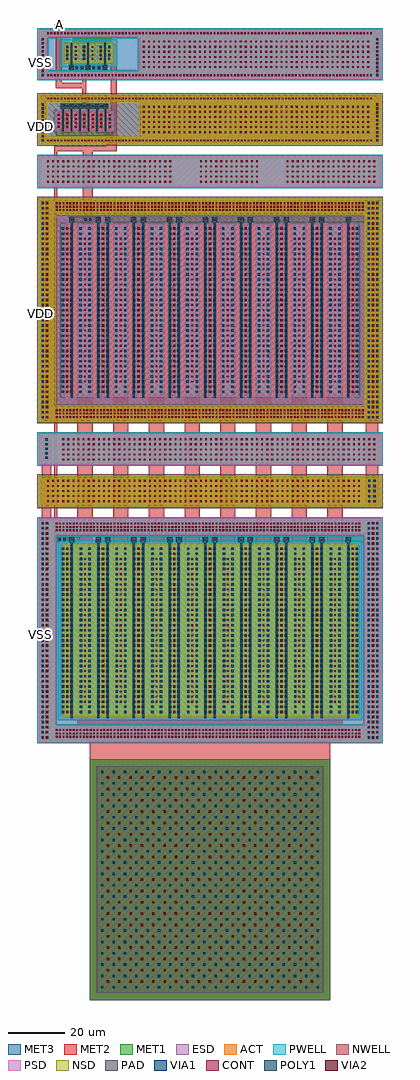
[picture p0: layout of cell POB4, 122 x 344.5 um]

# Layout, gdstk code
from math import pi, radians
import gdstk
lib = gdstk.Library(unit=1e-6, precision=1e-09)
def R(c, l, rs):  # rectangles x0, y0, x1, y1
    for r in rs: c.add(gdstk.rectangle(r[:2], r[2:], *l))
def A(c, l, x, y, w, h, nx, ny, dx, dy):  # array of equal rectangles
    R(c, l, [(x+i*dx, y+j*dy, x+i*dx+w, y+j*dy+h) for i in range(nx) for j in range(ny)])
NWELL = (2, 0)
PWELL = (3, 0)
ACT = (11, 0)
POLY1 = (12, 0)
NSD = (14, 0)
PSD = (15, 0)
ESD = (26, 0)
CONT = (31, 0)
MET1 = (32, 0)
VIA1 = (33, 0)
MET2 = (34, 0)
VIA2 = (35, 0)
MET3 = (36, 0)
PAD = (37, 0)

via2_array_cdns_70467682 = lib.new_cell('via2_array_CDNS_704676826052')
R(via2_array_cdns_70467682, MET2, [(0,0,2,2)])
R(via2_array_cdns_70467682, VIA2, [(0.6,0.6,1.4,1.4)])
R(via2_array_cdns_70467682, MET3, [(0,0,2,2)])

via1_array_cdns_70467682 = lib.new_cell('via1_array_CDNS_704676826051')
R(via1_array_cdns_70467682, MET1, [(0,0,2,2)])
R(via1_array_cdns_70467682, VIA1, [(0.6,0.6,1.4,1.4)])
R(via1_array_cdns_70467682, MET2, [(0,0,2,2)])

pad80_cdns_704676826050 = lib.new_cell('pad80_CDNS_704676826050')
R(pad80_cdns_704676826050, MET1, [(0,0,85,2.5), (0,2.5,2.5,82.5), (2.5,2.5,82.5,82.5), (82.5,2.5,85,82.5), (0,82.5,85,85)])
R(pad80_cdns_704676826050, MET2, [(0,0,85,2.5), (0,2.5,2.5,82.5), (2.5,2.5,82.5,82.5), (82.5,2.5,85,82.5), (0,82.5,85,85)])
R(pad80_cdns_704676826050, MET3, [(0,0,85,2.5), (0,2.5,2.5,82.5), (2.5,2.5,82.5,82.5), (82.5,2.5,85,82.5), (0,82.5,85,85)])
R(pad80_cdns_704676826050, PAD, [(2.5,2.5,82.5,82.5), (2.5,2.5,82.5,82.5)])
r = gdstk.Reference(via2_array_cdns_70467682, (5.5,5.5)); r.repetition = gdstk.Repetition(19, 19, v1=(4,0), v2=(0,4)); pad80_cdns_704676826050.add(r)
r = gdstk.Reference(via1_array_cdns_70467682, (3.5,3.5)); r.repetition = gdstk.Repetition(20, 20, v1=(4,0), v2=(0,4)); pad80_cdns_704676826050.add(r)

pad_80 = lib.new_cell('PAD_80')
R(pad_80, MET1, [(-40.9,-40.9,40.4,40.8)])
R(pad_80, MET2, [(-40.9,-40.9,40.4,40.8), (-42.5,42.5,42.5,49)])
R(pad_80, MET3, [(-40.9,-40.9,40.4,40.8)])
pad_80.add(gdstk.Reference(pad80_cdns_704676826050, (-42.5,-42.5)))

via2 = lib.new_cell('VIA2')
R(via2, VIA2, [(-0.4,-0.4,0.4,0.4)])

via1 = lib.new_cell('VIA1')
R(via1, VIA1, [(-0.4,-0.4,0.4,0.4)])

cont = lib.new_cell('CONT')
R(cont, CONT, [(-0.3,-0.3,0.3,0.3)])

nleaf = lib.new_cell('NLEAF')
R(nleaf, PWELL, [(-1.8,-1.8,17,61.8)])
R(nleaf, ACT, [(0,0,15.2,60)])
R(nleaf, POLY1, [(2.6,-1,3.3,61), (11.9,-1,12.6,61), (2.05,61,3.85,62.8), (11.35,61,13.15,62.8)])
R(nleaf, NSD, [(-0.5,-0.5,15.7,60.5)])
R(nleaf, MET1, [(-1.2,0,3.8,60), (4.6,0,10.6,60), (11.4,0,16.4,60), (2.05,61,3.85,62.8), (11.35,61,13.15,62.8)])
R(nleaf, MET2, [(-1.2,0,3.8,60), (4.9,0,10.3,60), (11.4,0,16.4,60)])
R(nleaf, MET3, [(-1.3,0,3.9,60), (11.3,0,16.5,60)])
r = gdstk.Reference(via2, (1.3,1.2)); r.repetition = gdstk.Repetition(1, 33, v1=(0,0), v2=(0,1.8)); nleaf.add(r)
r = gdstk.Reference(via2, (13.9,1.2)); r.repetition = gdstk.Repetition(1, 33, v1=(0,0), v2=(0,1.8)); nleaf.add(r)
r = gdstk.Reference(via1, (-0.2,1.2)); r.repetition = gdstk.Repetition(2, 33, v1=(3,0), v2=(0,1.8)); nleaf.add(r)
r = gdstk.Reference(via1, (12.4,1.2)); r.repetition = gdstk.Repetition(2, 33, v1=(3,0), v2=(0,1.8)); nleaf.add(r)
r = gdstk.Reference(via1, (6.2,1.2)); r.repetition = gdstk.Repetition(2, 33, v1=(3,0), v2=(0,1.8)); nleaf.add(r)
r = gdstk.Reference(cont, (7.6,4.8)); r.repetition = gdstk.Repetition(1, 29, v1=(0,0), v2=(0,1.8)); nleaf.add(r)
r = gdstk.Reference(cont, (1.3,4.8)); r.repetition = gdstk.Repetition(1, 29, v1=(0,0), v2=(0,1.8)); nleaf.add(r)
r = gdstk.Reference(cont, (13.9,4.8)); r.repetition = gdstk.Repetition(1, 29, v1=(0,0), v2=(0,1.8)); nleaf.add(r)
nleaf.add(gdstk.Reference(cont, (2.95,61.9)))
nleaf.add(gdstk.Reference(cont, (12.25,61.9)))

ndrv = lib.new_cell('NDRV')
R(ndrv, PWELL, [(-0.9,-0.9,120.9,5.9), (-0.9,5.9,5.9,72.1), (114.1,5.9,120.9,72.1), (-0.9,72.1,120.9,78.9)])
R(ndrv, ACT, [(0,0,120,5), (0,5,5,73), (115,5,120,73), (0,73,120,78)])
R(ndrv, PSD, [(-0.5,-0.5,120.5,5.5), (-0.5,5.5,5.5,72.5), (114.5,5.5,120.5,72.5), (-0.5,72.5,120.5,78.5)])
R(ndrv, ESD, [(5.6,5.6,114.4,72.4), (5.6,5.6,114.4,72.4)])
R(ndrv, MET1, [(0,0,120,5), (0,5,5,73), (115,5,120,73), (0,73,120,78)])
R(ndrv, MET2, [(0,0,4,78), (115,0,120,78)])
R(ndrv, MET3, [(0,0,5,78), (115,0,120,78)])
r = gdstk.Reference(via2, (2.5,1.2)); r.repetition = gdstk.Repetition(1, 43, v1=(0,0), v2=(0,1.8)); ndrv.add(r)
r = gdstk.Reference(via2, (117.5,1.2)); r.repetition = gdstk.Repetition(1, 43, v1=(0,0), v2=(0,1.8)); ndrv.add(r)
r = gdstk.Reference(via1, (1,1.2)); r.repetition = gdstk.Repetition(1, 43, v1=(0,0), v2=(0,1.8)); ndrv.add(r)
r = gdstk.Reference(via1, (116,1.2)); r.repetition = gdstk.Repetition(2, 43, v1=(3,0), v2=(0,1.8)); ndrv.add(r)
r = gdstk.Reference(nleaf, (8.3,9)); r.repetition = gdstk.Repetition(8, 1, v1=(12.6,0), v2=(0,0)); ndrv.add(r)
r = gdstk.Reference(cont, (5.9,1.4)); r.repetition = gdstk.Repetition(90, 3, v1=(1.2,0), v2=(0,1.2)); ndrv.add(r)
r = gdstk.Reference(cont, (2.5,1.2)); r.repetition = gdstk.Repetition(1, 43, v1=(0,0), v2=(0,1.8)); ndrv.add(r)
r = gdstk.Reference(cont, (5.9,74.3)); r.repetition = gdstk.Repetition(90, 3, v1=(1.2,0), v2=(0,1.2)); ndrv.add(r)
r = gdstk.Reference(cont, (117.5,1.2)); r.repetition = gdstk.Repetition(1, 43, v1=(0,0), v2=(0,1.8)); ndrv.add(r)

guard1 = lib.new_cell('GUARD1')
R(guard1, NWELL, [(-25.1,0.9,59.25,15.7)])
R(guard1, PWELL, [(-25.1,23.9,59.25,38.7)])
R(guard1, ACT, [(-24.2,1.8,58.35,14.8), (-24.2,24.8,58.35,37.8)])
R(guard1, NSD, [(-24.7,1.3,58.85,15.3)])
R(guard1, PSD, [(-24.7,24.3,58.85,38.3)])
R(guard1, MET1, [(-24.2,1.8,58.35,14.8), (-24.2,24.8,58.35,37.8)])
r = gdstk.Reference(cont, (-23,26.8)); r.repetition = gdstk.Repetition(45, 6, v1=(1.8,0), v2=(0,1.8)); guard1.add(r)
r = gdstk.Reference(cont, (-23,3.8)); r.repetition = gdstk.Repetition(45, 6, v1=(1.8,0), v2=(0,1.8)); guard1.add(r)

double_guard = lib.new_cell('DOUBLE_GUARD')
R(double_guard, NWELL, [(-1,-1,120.95,11)])
R(double_guard, PWELL, [(-0.9,14.1,120.9,25.9)])
R(double_guard, ACT, [(0,0,120,10), (0,15,120,25)])
R(double_guard, NSD, [(-0.5,-0.5,120.5,10.5)])
R(double_guard, PSD, [(-0.5,14.5,120.5,25.5)])
R(double_guard, MET1, [(0,0,120,10), (0,15,120,25)])
r = gdstk.Reference(cont, (2.8,1.55)); r.repetition = gdstk.Repetition(62, 5, v1=(1.8,0), v2=(0,1.8)); double_guard.add(r)
r = gdstk.Reference(cont, (8.2,16.25)); r.repetition = gdstk.Repetition(62, 5, v1=(1.8,0), v2=(0,1.8)); double_guard.add(r)

guard = lib.new_cell('GUARD')
R(guard, NWELL, [(-1,-1,120.95,17.6)])
R(guard, PWELL, [(-0.9,22.1,120.9,25.7), (-0.9,25.7,2.9,36.9), (117.1,25.7,120.9,36.9), (-0.9,36.9,120.9,40.5)])
R(guard, ACT, [(0,0,120,1.8), (0,1.8,2,14.8), (118,1.8,120,14.8), (0,14.8,120,16.6), (0,23,120,24.8), (0,24.8,2,37.8), (118,24.8,120,37.8), (0,37.8,120,39.6)])
R(guard, NSD, [(-0.5,-0.5,120.5,2.3), (-0.5,2.3,2.5,14.3), (117.5,2.3,120.5,14.3), (-0.5,14.3,120.5,17.1)])
R(guard, PSD, [(-0.5,22.5,120.5,25.3), (-0.5,25.3,2.5,37.3), (117.5,25.3,120.5,37.3), (-0.5,37.3,120.5,40.1)])
R(guard, MET1, [(0,0,120,1.8), (0,1.8,2,14.8), (118,1.8,120,14.8), (0,14.8,120,16.6), (0,23,120,24.8), (0,24.8,2,37.8), (118,24.8,120,37.8), (0,37.8,120,39.6)])
R(guard, MET2, [(0,0,2,16.6), (118,0,120,16.6), (0,23,2,39.6), (118,23,120,39.6)])
R(guard, MET3, [(0,0,2,16.6), (118,0,120,16.6), (0,23,2,39.6), (118,23,120,39.6)])
r = gdstk.Reference(via2, (1,25.4)); r.repetition = gdstk.Repetition(1, 5, v1=(0,0), v2=(0,2.8)); guard.add(r)
r = gdstk.Reference(via2, (119,25.4)); r.repetition = gdstk.Repetition(1, 5, v1=(0,0), v2=(0,2.8)); guard.add(r)
r = gdstk.Reference(via2, (1,2.4)); r.repetition = gdstk.Repetition(1, 5, v1=(0,0), v2=(0,2.8)); guard.add(r)
r = gdstk.Reference(via2, (119,2.4)); r.repetition = gdstk.Repetition(1, 5, v1=(0,0), v2=(0,2.8)); guard.add(r)
r = gdstk.Reference(via1, (119,24)); r.repetition = gdstk.Repetition(1, 5, v1=(0,0), v2=(0,2.8)); guard.add(r)
r = gdstk.Reference(via1, (1,24)); r.repetition = gdstk.Repetition(1, 5, v1=(0,0), v2=(0,2.8)); guard.add(r)
r = gdstk.Reference(via1, (119,1)); r.repetition = gdstk.Repetition(1, 5, v1=(0,0), v2=(0,2.8)); guard.add(r)
r = gdstk.Reference(via1, (1,1)); r.repetition = gdstk.Repetition(1, 5, v1=(0,0), v2=(0,2.8)); guard.add(r)
r = gdstk.Reference(cont, (2.8,38.7)); r.repetition = gdstk.Repetition(96, 1, v1=(1.2,0), v2=(0,0)); guard.add(r)
r = gdstk.Reference(cont, (2.8,23.9)); r.repetition = gdstk.Repetition(96, 1, v1=(1.2,0), v2=(0,0)); guard.add(r)
r = gdstk.Reference(cont, (2.8,0.9)); r.repetition = gdstk.Repetition(96, 1, v1=(1.2,0), v2=(0,0)); guard.add(r)
r = gdstk.Reference(cont, (1,25.4)); r.repetition = gdstk.Repetition(1, 5, v1=(0,0), v2=(0,2.8)); guard.add(r)
r = gdstk.Reference(cont, (119,2.4)); r.repetition = gdstk.Repetition(1, 5, v1=(0,0), v2=(0,2.8)); guard.add(r)
r = gdstk.Reference(cont, (1,2.4)); r.repetition = gdstk.Repetition(1, 5, v1=(0,0), v2=(0,2.8)); guard.add(r)
r = gdstk.Reference(cont, (2.8,15.7)); r.repetition = gdstk.Repetition(96, 1, v1=(1.2,0), v2=(0,0)); guard.add(r)
r = gdstk.Reference(cont, (119,25.4)); r.repetition = gdstk.Repetition(1, 5, v1=(0,0), v2=(0,2.8)); guard.add(r)

poly1cont_cdns_704676826 = lib.new_cell('poly1cont_CDNS_704676826053')
R(poly1cont_cdns_704676826, POLY1, [(0.1,0.1,1.7,1.7)])
R(poly1cont_cdns_704676826, CONT, [(0.6,0.6,1.2,1.2), (0.6,0.6,1.2,1.2)])
R(poly1cont_cdns_704676826, MET1, [(0,0,1.8,1.8)])

inv2 = lib.new_cell('INV2')
R(inv2, NWELL, [(0.35,-1.8,19.45,8)])
R(inv2, PWELL, [(-0.9,-0.9,0.35,7.1), (19.45,-0.9,20.7,7.1), (1.2,22.2,21.4,32)])
A(inv2, ACT, 3, 24, 4.8, 6.2, 3, 1, 5.9, 0)
R(inv2, ACT, [(0,0,19.8,6.2)])
A(inv2, POLY1, 2.15, -0.5, 0.5, 7.9, 6, 1, 3, 0)
A(inv2, POLY1, 5.15, 22.8, 0.5, 7.9, 3, 1, 5.9, 0)
A(inv2, NSD, 2.5, 23.5, 5.8, 7.2, 3, 1, 5.9, 0)
R(inv2, PSD, [(-0.5,-0.5,20.3,6.7)])
R(inv2, CONT, [(0.6,2.1,1.2,2.7), (0.6,2.1,1.2,2.7), (3.6,2.1,4.2,2.7), (3.6,2.1,4.2,2.7), (6.6,2.1,7.2,2.7), (6.6,2.1,7.2,2.7), (9.6,2.1,10.2,2.7), (9.6,2.1,10.2,2.7), (12.6,2.1,13.2,2.7), (12.6,2.1,13.2,2.7), (15.6,2.1,16.2,2.7), (15.6,2.1,16.2,2.7), (18.6,2.1,19.2,2.7), (18.6,2.1,19.2,2.7), (0.6,4.9,1.2,5.5), (0.6,4.9,1.2,5.5), (3.6,4.9,4.2,5.5), (3.6,4.9,4.2,5.5), (6.6,4.9,7.2,5.5), (6.6,4.9,7.2,5.5), (9.6,4.9,10.2,5.5), (9.6,4.9,10.2,5.5), (12.6,4.9,13.2,5.5), (12.6,4.9,13.2,5.5), (15.6,4.9,16.2,5.5), (15.6,4.9,16.2,5.5), (18.6,4.9,19.2,5.5), (18.6,4.9,19.2,5.5), (3.6,24.7,4.2,25.3), (3.6,24.7,4.2,25.3), (6.6,24.7,7.2,25.3), (6.6,24.7,7.2,25.3), (9.5,24.7,10.1,25.3), (9.5,24.7,10.1,25.3), (12.5,24.7,13.1,25.3), (12.5,24.7,13.1,25.3), (15.4,24.7,16,25.3), (15.4,24.7,16,25.3), (18.4,24.7,19,25.3), (18.4,24.7,19,25.3), (3.6,27.5,4.2,28.1), (3.6,27.5,4.2,28.1), (6.6,27.5,7.2,28.1), (6.6,27.5,7.2,28.1), (9.5,27.5,10.1,28.1), (9.5,27.5,10.1,28.1), (12.5,27.5,13.1,28.1), (12.5,27.5,13.1,28.1), (15.4,27.5,16,28.1), (15.4,27.5,16,28.1), (18.4,27.5,19,28.1), (18.4,27.5,19,28.1)])
A(inv2, MET1, 2.8, -0.1, 2.2, 6.4, 3, 1, 6, 0)
A(inv2, MET1, 2.9, 23.9, 2.1, 6.4, 3, 1, 5.9, 0)
A(inv2, MET1, 5.8, 23.9, 2.1, 7.2, 3, 1, 5.9, 0)
R(inv2, MET1, [(-0.1,-2.1,19.9,-0.9), (-0.1,-0.9,2,6.3), (5.8,-0.9,8,-0.1), (11.8,-0.9,14,-0.1), (17.8,-0.9,19.9,6.3), (5.8,-0.1,7.9,6.3), (11.8,-0.1,13.9,6.3), (1.5,7.3,18.3,9.3), (4.5,20.9,18.1,23.1), (5.8,31.1,19.7,32.3)])
A(inv2, MET2, 2.9, -0.1, 2, 6.4, 3, 1, 6, 0)
A(inv2, MET2, 2.9, 23.9, 2, 6.4, 3, 1, 5.9, 0)
R(inv2, MET2, [(17.9,-0.1,21.3,6.3), (19.3,6.3,21.3,23.9), (1.5,7.3,18.3,9.3), (9.2,9.3,10.6,20.9), (4.5,20.9,18.1,22.9), (17.7,23.9,21.3,30.3)])
A(inv2, MET3, 2.9, -0.1, 2, 6.4, 3, 1, 6, 0)
A(inv2, MET3, 2.9, 23.9, 2, 6.4, 3, 1, 5.9, 0)
inv2.add(gdstk.Reference(via2, (15.7,27.8)))
inv2.add(gdstk.Reference(via2, (9.8,27.8)))
inv2.add(gdstk.Reference(via2, (15.9,5.2), rotation=pi))
inv2.add(gdstk.Reference(via2, (15.9,2.4), rotation=pi))
inv2.add(gdstk.Reference(via2, (9.9,5.2), rotation=pi))
inv2.add(gdstk.Reference(via2, (9.9,2.4), rotation=pi))
inv2.add(gdstk.Reference(via2, (9.8,25)))
inv2.add(gdstk.Reference(via2, (15.7,25)))
inv2.add(gdstk.Reference(via2, (3.9,5.2), rotation=pi))
inv2.add(gdstk.Reference(via2, (3.9,27.8)))
inv2.add(gdstk.Reference(via2, (3.9,2.4), rotation=pi))
inv2.add(gdstk.Reference(via2, (3.9,25)))
inv2.add(gdstk.Reference(via1, (18.7,29.2)))
inv2.add(gdstk.Reference(via1, (18.7,26.4)))
inv2.add(gdstk.Reference(via1, (15.7,29.2)))
inv2.add(gdstk.Reference(via1, (15.7,26.4)))
inv2.add(gdstk.Reference(via1, (9.8,29.2)))
inv2.add(gdstk.Reference(via1, (9.8,26.4)))
inv2.add(gdstk.Reference(via1, (15.9,1), rotation=pi))
inv2.add(gdstk.Reference(via1, (15.9,3.8), rotation=pi))
inv2.add(gdstk.Reference(via1, (18.9,1), rotation=pi))
inv2.add(gdstk.Reference(via1, (18.9,3.8), rotation=pi))
inv2.add(gdstk.Reference(via1, (9.9,1), rotation=pi))
inv2.add(gdstk.Reference(via1, (9.9,3.8), rotation=pi))
inv2.add(gdstk.Reference(via1, (16,8.3)))
inv2.add(gdstk.Reference(via1, (9.9,8.3)))
inv2.add(gdstk.Reference(via1, (15.1,21.9)))
inv2.add(gdstk.Reference(via1, (13.3,21.9)))
inv2.add(gdstk.Reference(via1, (9.1,21.9)))
inv2.add(gdstk.Reference(via1, (3.9,1), rotation=pi))
inv2.add(gdstk.Reference(via1, (7.3,21.9)))
inv2.add(gdstk.Reference(via1, (3.9,8.3)))
inv2.add(gdstk.Reference(via1, (3.9,3.8), rotation=pi))
inv2.add(gdstk.Reference(via1, (12.9,8.3)))
inv2.add(gdstk.Reference(via1, (6.9,8.3)))
inv2.add(gdstk.Reference(via1, (3.9,29.2)))
inv2.add(gdstk.Reference(via1, (3.9,26.4)))
inv2.add(gdstk.Reference(poly1cont_cdns_704676826, (18.1,22.9), rotation=pi))
inv2.add(gdstk.Reference(poly1cont_cdns_704676826, (12.2,22.9), rotation=pi))
inv2.add(gdstk.Reference(poly1cont_cdns_704676826, (13.5,7.3)))
inv2.add(gdstk.Reference(poly1cont_cdns_704676826, (16.5,7.3)))
inv2.add(gdstk.Reference(poly1cont_cdns_704676826, (7.5,7.3)))
inv2.add(gdstk.Reference(poly1cont_cdns_704676826, (10.5,7.3)))
inv2.add(gdstk.Reference(poly1cont_cdns_704676826, (1.5,7.3)))
inv2.add(gdstk.Reference(poly1cont_cdns_704676826, (6.3,22.9), rotation=pi))
inv2.add(gdstk.Reference(poly1cont_cdns_704676826, (4.5,7.3)))
inv2.add(gdstk.Reference(cont, (12.8,29.2)))
inv2.add(gdstk.Reference(cont, (12.8,26.4)))
inv2.add(gdstk.Reference(cont, (6.9,3.8), rotation=pi))
inv2.add(gdstk.Reference(cont, (6.9,1), rotation=pi))
inv2.add(gdstk.Reference(cont, (12.9,1), rotation=pi))
inv2.add(gdstk.Reference(cont, (12.9,3.8), rotation=pi))
inv2.add(gdstk.Reference(cont, (6.9,29.2)))
inv2.add(gdstk.Reference(cont, (0.9,1), rotation=pi))
inv2.add(gdstk.Reference(cont, (6.9,26.4)))
inv2.add(gdstk.Reference(cont, (0.9,3.8), rotation=pi))

pleaf = lib.new_cell('PLEAF')
R(pleaf, NWELL, [(0.8,-1.8,5.1,61.8), (10.1,-1.8,14.4,61.8)])
R(pleaf, PWELL, [(-0.9,-0.9,0.8,60.9), (5.1,-0.9,10.1,60.9), (14.4,-0.9,16.1,60.9)])
R(pleaf, ACT, [(0,0,15.2,60)])
R(pleaf, POLY1, [(2.6,-1,3.3,61), (11.9,-1,12.6,61), (2.05,61,3.85,62.8), (11.35,61,13.15,62.8)])
R(pleaf, PSD, [(-0.5,-0.5,15.7,60.5)])
R(pleaf, MET1, [(-1.2,0,3.8,60), (4.6,0,10.6,60), (11.4,0,16.4,60), (2.05,61,3.85,62.8), (11.35,61,13.15,62.8)])
R(pleaf, MET2, [(-1.3,0,3.9,60), (4.9,0,10.3,60), (11.3,0,16.5,60)])
R(pleaf, MET3, [(-1.3,0,3.9,60), (11.3,0,16.5,60)])
r = gdstk.Reference(via2, (1.3,1.2)); r.repetition = gdstk.Repetition(1, 33, v1=(0,0), v2=(0,1.8)); pleaf.add(r)
r = gdstk.Reference(via2, (13.9,1.2)); r.repetition = gdstk.Repetition(1, 33, v1=(0,0), v2=(0,1.8)); pleaf.add(r)
r = gdstk.Reference(via1, (-0.2,1.2)); r.repetition = gdstk.Repetition(2, 33, v1=(3,0), v2=(0,1.8)); pleaf.add(r)
r = gdstk.Reference(via1, (12.4,1.2)); r.repetition = gdstk.Repetition(2, 33, v1=(3,0), v2=(0,1.8)); pleaf.add(r)
r = gdstk.Reference(via1, (6,1.2)); r.repetition = gdstk.Repetition(2, 33, v1=(3.2,0), v2=(0,1.8)); pleaf.add(r)
r = gdstk.Reference(cont, (7.6,4.8)); r.repetition = gdstk.Repetition(1, 29, v1=(0,0), v2=(0,1.8)); pleaf.add(r)
r = gdstk.Reference(cont, (1.3,4.8)); r.repetition = gdstk.Repetition(1, 29, v1=(0,0), v2=(0,1.8)); pleaf.add(r)
r = gdstk.Reference(cont, (13.9,4.8)); r.repetition = gdstk.Repetition(1, 29, v1=(0,0), v2=(0,1.8)); pleaf.add(r)
pleaf.add(gdstk.Reference(cont, (2.95,61.9)))
pleaf.add(gdstk.Reference(cont, (12.25,61.9)))

pdrv = lib.new_cell('PDRV')
R(pdrv, NWELL, [(-1,-1,121,79)])
R(pdrv, ACT, [(0,0,120,5), (0,5,5,73), (115,5,120,73), (0,73,120,78)])
R(pdrv, NSD, [(-0.5,-0.5,120.5,5.5), (-0.5,5.5,5.5,72.5), (114.5,5.5,120.5,72.5), (-0.5,72.5,120.5,78.5)])
R(pdrv, ESD, [(5.6,5.6,114.4,72.4), (5.6,5.6,114.4,72.4)])
R(pdrv, MET1, [(0,0,120,5), (0,5,5,73), (115,5,120,73), (0,73,120,78)])
R(pdrv, MET2, [(0,0,4,78), (115,0,120,78)])
R(pdrv, MET3, [(0,0,5,78), (115,0,120,78)])
r = gdstk.Reference(via2, (2.5,1.2)); r.repetition = gdstk.Repetition(1, 43, v1=(0,0), v2=(0,1.8)); pdrv.add(r)
r = gdstk.Reference(via2, (117.5,1.2)); r.repetition = gdstk.Repetition(1, 43, v1=(0,0), v2=(0,1.8)); pdrv.add(r)
r = gdstk.Reference(via1, (1,1.2)); r.repetition = gdstk.Repetition(1, 43, v1=(0,0), v2=(0,1.8)); pdrv.add(r)
r = gdstk.Reference(via1, (116,1.2)); r.repetition = gdstk.Repetition(2, 43, v1=(3,0), v2=(0,1.8)); pdrv.add(r)
r = gdstk.Reference(pleaf, (8.3,9)); r.repetition = gdstk.Repetition(8, 1, v1=(12.6,0), v2=(0,0)); pdrv.add(r)
r = gdstk.Reference(cont, (5.9,1.3)); r.repetition = gdstk.Repetition(91, 3, v1=(1.2,0), v2=(0,1.2)); pdrv.add(r)
r = gdstk.Reference(cont, (2.5,1.2)); r.repetition = gdstk.Repetition(1, 43, v1=(0,0), v2=(0,1.8)); pdrv.add(r)
r = gdstk.Reference(cont, (5.9,74.3)); r.repetition = gdstk.Repetition(91, 3, v1=(1.2,0), v2=(0,1.2)); pdrv.add(r)
r = gdstk.Reference(cont, (117.5,1.2)); r.repetition = gdstk.Repetition(1, 43, v1=(0,0), v2=(0,1.8)); pdrv.add(r)

single_guard = lib.new_cell('SINGLE_GUARD')
R(single_guard, PWELL, [(-0.9,-0.9,120.9,10.9)])
R(single_guard, ACT, [(0,0,120,10)])
R(single_guard, PSD, [(-0.5,-0.5,120.5,10.5)])
R(single_guard, MET1, [(0,0,120,10)])
single_guard.add(gdstk.Reference(cont, (60.4,1.35)))
single_guard.add(gdstk.Reference(cont, (60.4,3.15)))
single_guard.add(gdstk.Reference(cont, (60.4,4.95)))
single_guard.add(gdstk.Reference(cont, (60.4,6.75)))
single_guard.add(gdstk.Reference(cont, (60.4,8.55)))
single_guard.add(gdstk.Reference(cont, (89.2,1.35)))
single_guard.add(gdstk.Reference(cont, (89.2,3.15)))
single_guard.add(gdstk.Reference(cont, (89.2,4.95)))
single_guard.add(gdstk.Reference(cont, (89.2,6.75)))
single_guard.add(gdstk.Reference(cont, (89.2,8.55)))
single_guard.add(gdstk.Reference(cont, (98.2,1.35)))
single_guard.add(gdstk.Reference(cont, (100,1.35)))
single_guard.add(gdstk.Reference(cont, (101.8,1.35)))
single_guard.add(gdstk.Reference(cont, (103.6,1.35)))
single_guard.add(gdstk.Reference(cont, (105.4,1.35)))
single_guard.add(gdstk.Reference(cont, (107.2,1.35)))
single_guard.add(gdstk.Reference(cont, (109,1.35)))
single_guard.add(gdstk.Reference(cont, (110.8,1.35)))
single_guard.add(gdstk.Reference(cont, (112.6,1.35)))
single_guard.add(gdstk.Reference(cont, (114.4,1.35)))
single_guard.add(gdstk.Reference(cont, (116.2,1.35)))
single_guard.add(gdstk.Reference(cont, (118,1.35)))
single_guard.add(gdstk.Reference(cont, (91,1.35)))
single_guard.add(gdstk.Reference(cont, (91,3.15)))
single_guard.add(gdstk.Reference(cont, (92.8,3.15)))
single_guard.add(gdstk.Reference(cont, (94.6,3.15)))
single_guard.add(gdstk.Reference(cont, (96.4,3.15)))
single_guard.add(gdstk.Reference(cont, (98.2,3.15)))
single_guard.add(gdstk.Reference(cont, (100,3.15)))
single_guard.add(gdstk.Reference(cont, (101.8,3.15)))
single_guard.add(gdstk.Reference(cont, (103.6,3.15)))
single_guard.add(gdstk.Reference(cont, (105.4,3.15)))
single_guard.add(gdstk.Reference(cont, (107.2,3.15)))
single_guard.add(gdstk.Reference(cont, (109,3.15)))
single_guard.add(gdstk.Reference(cont, (110.8,3.15)))
single_guard.add(gdstk.Reference(cont, (112.6,3.15)))
single_guard.add(gdstk.Reference(cont, (114.4,3.15)))
single_guard.add(gdstk.Reference(cont, (116.2,3.15)))
single_guard.add(gdstk.Reference(cont, (118,3.15)))
single_guard.add(gdstk.Reference(cont, (92.8,1.35)))
single_guard.add(gdstk.Reference(cont, (91,4.95)))
single_guard.add(gdstk.Reference(cont, (92.8,4.95)))
single_guard.add(gdstk.Reference(cont, (94.6,4.95)))
single_guard.add(gdstk.Reference(cont, (96.4,4.95)))
single_guard.add(gdstk.Reference(cont, (98.2,4.95)))
single_guard.add(gdstk.Reference(cont, (100,4.95)))
single_guard.add(gdstk.Reference(cont, (101.8,4.95)))
single_guard.add(gdstk.Reference(cont, (103.6,4.95)))
single_guard.add(gdstk.Reference(cont, (105.4,4.95)))
single_guard.add(gdstk.Reference(cont, (107.2,4.95)))
single_guard.add(gdstk.Reference(cont, (109,4.95)))
single_guard.add(gdstk.Reference(cont, (110.8,4.95)))
single_guard.add(gdstk.Reference(cont, (112.6,4.95)))
single_guard.add(gdstk.Reference(cont, (114.4,4.95)))
single_guard.add(gdstk.Reference(cont, (116.2,4.95)))
single_guard.add(gdstk.Reference(cont, (118,4.95)))
single_guard.add(gdstk.Reference(cont, (94.6,1.35)))
single_guard.add(gdstk.Reference(cont, (91,6.75)))
single_guard.add(gdstk.Reference(cont, (92.8,6.75)))
single_guard.add(gdstk.Reference(cont, (94.6,6.75)))
single_guard.add(gdstk.Reference(cont, (96.4,6.75)))
single_guard.add(gdstk.Reference(cont, (98.2,6.75)))
single_guard.add(gdstk.Reference(cont, (100,6.75)))
single_guard.add(gdstk.Reference(cont, (101.8,6.75)))
single_guard.add(gdstk.Reference(cont, (103.6,6.75)))
single_guard.add(gdstk.Reference(cont, (105.4,6.75)))
single_guard.add(gdstk.Reference(cont, (107.2,6.75)))
single_guard.add(gdstk.Reference(cont, (109,6.75)))
single_guard.add(gdstk.Reference(cont, (110.8,6.75)))
single_guard.add(gdstk.Reference(cont, (112.6,6.75)))
single_guard.add(gdstk.Reference(cont, (114.4,6.75)))
single_guard.add(gdstk.Reference(cont, (116.2,6.75)))
single_guard.add(gdstk.Reference(cont, (118,6.75)))
single_guard.add(gdstk.Reference(cont, (96.4,1.35)))
single_guard.add(gdstk.Reference(cont, (91,8.55)))
single_guard.add(gdstk.Reference(cont, (92.8,8.55)))
single_guard.add(gdstk.Reference(cont, (94.6,8.55)))
single_guard.add(gdstk.Reference(cont, (96.4,8.55)))
single_guard.add(gdstk.Reference(cont, (98.2,8.55)))
single_guard.add(gdstk.Reference(cont, (100,8.55)))
single_guard.add(gdstk.Reference(cont, (101.8,8.55)))
single_guard.add(gdstk.Reference(cont, (103.6,8.55)))
single_guard.add(gdstk.Reference(cont, (105.4,8.55)))
single_guard.add(gdstk.Reference(cont, (107.2,8.55)))
single_guard.add(gdstk.Reference(cont, (109,8.55)))
single_guard.add(gdstk.Reference(cont, (110.8,8.55)))
single_guard.add(gdstk.Reference(cont, (112.6,8.55)))
single_guard.add(gdstk.Reference(cont, (114.4,8.55)))
single_guard.add(gdstk.Reference(cont, (116.2,8.55)))
single_guard.add(gdstk.Reference(cont, (118,8.55)))
single_guard.add(gdstk.Reference(cont, (71.2,6.75)))
single_guard.add(gdstk.Reference(cont, (73,6.75)))
single_guard.add(gdstk.Reference(cont, (74.8,6.75)))
single_guard.add(gdstk.Reference(cont, (76.6,6.75)))
single_guard.add(gdstk.Reference(cont, (87.4,6.75)))
single_guard.add(gdstk.Reference(cont, (64,1.35)))
single_guard.add(gdstk.Reference(cont, (62.2,4.95)))
single_guard.add(gdstk.Reference(cont, (64,4.95)))
single_guard.add(gdstk.Reference(cont, (65.8,4.95)))
single_guard.add(gdstk.Reference(cont, (67.6,4.95)))
single_guard.add(gdstk.Reference(cont, (69.4,4.95)))
single_guard.add(gdstk.Reference(cont, (71.2,4.95)))
single_guard.add(gdstk.Reference(cont, (73,4.95)))
single_guard.add(gdstk.Reference(cont, (74.8,4.95)))
single_guard.add(gdstk.Reference(cont, (76.6,4.95)))
single_guard.add(gdstk.Reference(cont, (87.4,4.95)))
single_guard.add(gdstk.Reference(cont, (87.4,1.35)))
single_guard.add(gdstk.Reference(cont, (69.4,1.35)))
single_guard.add(gdstk.Reference(cont, (71.2,1.35)))
single_guard.add(gdstk.Reference(cont, (73,1.35)))
single_guard.add(gdstk.Reference(cont, (74.8,1.35)))
single_guard.add(gdstk.Reference(cont, (76.6,1.35)))
single_guard.add(gdstk.Reference(cont, (67.6,1.35)))
single_guard.add(gdstk.Reference(cont, (62.2,8.55)))
single_guard.add(gdstk.Reference(cont, (64,8.55)))
single_guard.add(gdstk.Reference(cont, (65.8,8.55)))
single_guard.add(gdstk.Reference(cont, (67.6,8.55)))
single_guard.add(gdstk.Reference(cont, (69.4,8.55)))
single_guard.add(gdstk.Reference(cont, (71.2,8.55)))
single_guard.add(gdstk.Reference(cont, (73,8.55)))
single_guard.add(gdstk.Reference(cont, (74.8,8.55)))
single_guard.add(gdstk.Reference(cont, (76.6,8.55)))
single_guard.add(gdstk.Reference(cont, (87.4,8.55)))
single_guard.add(gdstk.Reference(cont, (62.2,1.35)))
single_guard.add(gdstk.Reference(cont, (62.2,3.15)))
single_guard.add(gdstk.Reference(cont, (64,3.15)))
single_guard.add(gdstk.Reference(cont, (65.8,3.15)))
single_guard.add(gdstk.Reference(cont, (67.6,3.15)))
single_guard.add(gdstk.Reference(cont, (69.4,3.15)))
single_guard.add(gdstk.Reference(cont, (71.2,3.15)))
single_guard.add(gdstk.Reference(cont, (73,3.15)))
single_guard.add(gdstk.Reference(cont, (74.8,3.15)))
single_guard.add(gdstk.Reference(cont, (76.6,3.15)))
single_guard.add(gdstk.Reference(cont, (87.4,3.15)))
single_guard.add(gdstk.Reference(cont, (65.8,1.35)))
single_guard.add(gdstk.Reference(cont, (62.2,6.75)))
single_guard.add(gdstk.Reference(cont, (64,6.75)))
single_guard.add(gdstk.Reference(cont, (65.8,6.75)))
single_guard.add(gdstk.Reference(cont, (67.6,6.75)))
single_guard.add(gdstk.Reference(cont, (69.4,6.75)))
single_guard.add(gdstk.Reference(cont, (31.6,3.15)))
single_guard.add(gdstk.Reference(cont, (31.6,6.75)))
single_guard.add(gdstk.Reference(cont, (31.6,1.35)))
single_guard.add(gdstk.Reference(cont, (31.6,8.55)))
single_guard.add(gdstk.Reference(cont, (31.6,4.95)))
single_guard.add(gdstk.Reference(cont, (40.6,3.15)))
single_guard.add(gdstk.Reference(cont, (42.4,3.15)))
single_guard.add(gdstk.Reference(cont, (44.2,3.15)))
single_guard.add(gdstk.Reference(cont, (46,3.15)))
single_guard.add(gdstk.Reference(cont, (56.8,3.15)))
single_guard.add(gdstk.Reference(cont, (58.6,3.15)))
single_guard.add(gdstk.Reference(cont, (33.4,3.15)))
single_guard.add(gdstk.Reference(cont, (33.4,6.75)))
single_guard.add(gdstk.Reference(cont, (35.2,6.75)))
single_guard.add(gdstk.Reference(cont, (37,6.75)))
single_guard.add(gdstk.Reference(cont, (38.8,6.75)))
single_guard.add(gdstk.Reference(cont, (40.6,6.75)))
single_guard.add(gdstk.Reference(cont, (42.4,6.75)))
single_guard.add(gdstk.Reference(cont, (44.2,6.75)))
single_guard.add(gdstk.Reference(cont, (46,6.75)))
single_guard.add(gdstk.Reference(cont, (56.8,6.75)))
single_guard.add(gdstk.Reference(cont, (58.6,6.75)))
single_guard.add(gdstk.Reference(cont, (35.2,3.15)))
single_guard.add(gdstk.Reference(cont, (33.4,1.35)))
single_guard.add(gdstk.Reference(cont, (35.2,1.35)))
single_guard.add(gdstk.Reference(cont, (37,1.35)))
single_guard.add(gdstk.Reference(cont, (38.8,1.35)))
single_guard.add(gdstk.Reference(cont, (40.6,1.35)))
single_guard.add(gdstk.Reference(cont, (42.4,1.35)))
single_guard.add(gdstk.Reference(cont, (44.2,1.35)))
single_guard.add(gdstk.Reference(cont, (46,1.35)))
single_guard.add(gdstk.Reference(cont, (56.8,1.35)))
single_guard.add(gdstk.Reference(cont, (58.6,1.35)))
single_guard.add(gdstk.Reference(cont, (37,3.15)))
single_guard.add(gdstk.Reference(cont, (33.4,8.55)))
single_guard.add(gdstk.Reference(cont, (35.2,8.55)))
single_guard.add(gdstk.Reference(cont, (37,8.55)))
single_guard.add(gdstk.Reference(cont, (38.8,8.55)))
single_guard.add(gdstk.Reference(cont, (40.6,8.55)))
single_guard.add(gdstk.Reference(cont, (42.4,8.55)))
single_guard.add(gdstk.Reference(cont, (44.2,8.55)))
single_guard.add(gdstk.Reference(cont, (46,8.55)))
single_guard.add(gdstk.Reference(cont, (56.8,8.55)))
single_guard.add(gdstk.Reference(cont, (58.6,8.55)))
single_guard.add(gdstk.Reference(cont, (38.8,3.15)))
single_guard.add(gdstk.Reference(cont, (33.4,4.95)))
single_guard.add(gdstk.Reference(cont, (35.2,4.95)))
single_guard.add(gdstk.Reference(cont, (37,4.95)))
single_guard.add(gdstk.Reference(cont, (38.8,4.95)))
single_guard.add(gdstk.Reference(cont, (40.6,4.95)))
single_guard.add(gdstk.Reference(cont, (42.4,4.95)))
single_guard.add(gdstk.Reference(cont, (44.2,4.95)))
single_guard.add(gdstk.Reference(cont, (46,4.95)))
single_guard.add(gdstk.Reference(cont, (56.8,4.95)))
single_guard.add(gdstk.Reference(cont, (58.6,4.95)))
single_guard.add(gdstk.Reference(cont, (13.6,1.35)))
single_guard.add(gdstk.Reference(cont, (15.4,1.35)))
single_guard.add(gdstk.Reference(cont, (17.2,1.35)))
single_guard.add(gdstk.Reference(cont, (19,1.35)))
single_guard.add(gdstk.Reference(cont, (20.8,1.35)))
single_guard.add(gdstk.Reference(cont, (22.6,1.35)))
single_guard.add(gdstk.Reference(cont, (24.4,1.35)))
single_guard.add(gdstk.Reference(cont, (26.2,1.35)))
single_guard.add(gdstk.Reference(cont, (28,1.35)))
single_guard.add(gdstk.Reference(cont, (29.8,1.35)))
single_guard.add(gdstk.Reference(cont, (28,3.15)))
single_guard.add(gdstk.Reference(cont, (4.6,1.35)))
single_guard.add(gdstk.Reference(cont, (6.4,1.35)))
single_guard.add(gdstk.Reference(cont, (2.8,6.75)))
single_guard.add(gdstk.Reference(cont, (4.6,6.75)))
single_guard.add(gdstk.Reference(cont, (6.4,6.75)))
single_guard.add(gdstk.Reference(cont, (8.2,6.75)))
single_guard.add(gdstk.Reference(cont, (10,6.75)))
single_guard.add(gdstk.Reference(cont, (11.8,6.75)))
single_guard.add(gdstk.Reference(cont, (13.6,6.75)))
single_guard.add(gdstk.Reference(cont, (15.4,6.75)))
single_guard.add(gdstk.Reference(cont, (2.8,1.35)))
single_guard.add(gdstk.Reference(cont, (2.8,3.15)))
single_guard.add(gdstk.Reference(cont, (2.8,4.95)))
single_guard.add(gdstk.Reference(cont, (4.6,4.95)))
single_guard.add(gdstk.Reference(cont, (2.8,8.55)))
single_guard.add(gdstk.Reference(cont, (4.6,8.55)))
single_guard.add(gdstk.Reference(cont, (6.4,8.55)))
single_guard.add(gdstk.Reference(cont, (8.2,8.55)))
single_guard.add(gdstk.Reference(cont, (10,8.55)))
single_guard.add(gdstk.Reference(cont, (11.8,8.55)))
single_guard.add(gdstk.Reference(cont, (13.6,8.55)))
single_guard.add(gdstk.Reference(cont, (15.4,8.55)))
single_guard.add(gdstk.Reference(cont, (17.2,8.55)))
single_guard.add(gdstk.Reference(cont, (19,8.55)))
single_guard.add(gdstk.Reference(cont, (20.8,8.55)))
single_guard.add(gdstk.Reference(cont, (22.6,8.55)))
single_guard.add(gdstk.Reference(cont, (24.4,8.55)))
single_guard.add(gdstk.Reference(cont, (26.2,8.55)))
single_guard.add(gdstk.Reference(cont, (28,8.55)))
single_guard.add(gdstk.Reference(cont, (29.8,8.55)))
single_guard.add(gdstk.Reference(cont, (17.2,6.75)))
single_guard.add(gdstk.Reference(cont, (19,6.75)))
single_guard.add(gdstk.Reference(cont, (20.8,6.75)))
single_guard.add(gdstk.Reference(cont, (22.6,6.75)))
single_guard.add(gdstk.Reference(cont, (24.4,6.75)))
single_guard.add(gdstk.Reference(cont, (26.2,6.75)))
single_guard.add(gdstk.Reference(cont, (28,6.75)))
single_guard.add(gdstk.Reference(cont, (29.8,6.75)))
single_guard.add(gdstk.Reference(cont, (29.8,3.15)))
single_guard.add(gdstk.Reference(cont, (10,3.15)))
single_guard.add(gdstk.Reference(cont, (11.8,3.15)))
single_guard.add(gdstk.Reference(cont, (6.4,4.95)))
single_guard.add(gdstk.Reference(cont, (8.2,4.95)))
single_guard.add(gdstk.Reference(cont, (10,4.95)))
single_guard.add(gdstk.Reference(cont, (11.8,4.95)))
single_guard.add(gdstk.Reference(cont, (13.6,4.95)))
single_guard.add(gdstk.Reference(cont, (15.4,4.95)))
single_guard.add(gdstk.Reference(cont, (17.2,4.95)))
single_guard.add(gdstk.Reference(cont, (19,4.95)))
single_guard.add(gdstk.Reference(cont, (20.8,4.95)))
single_guard.add(gdstk.Reference(cont, (22.6,4.95)))
single_guard.add(gdstk.Reference(cont, (24.4,4.95)))
single_guard.add(gdstk.Reference(cont, (26.2,4.95)))
single_guard.add(gdstk.Reference(cont, (28,4.95)))
single_guard.add(gdstk.Reference(cont, (29.8,4.95)))
single_guard.add(gdstk.Reference(cont, (13.6,3.15)))
single_guard.add(gdstk.Reference(cont, (15.4,3.15)))
single_guard.add(gdstk.Reference(cont, (17.2,3.15)))
single_guard.add(gdstk.Reference(cont, (19,3.15)))
single_guard.add(gdstk.Reference(cont, (20.8,3.15)))
single_guard.add(gdstk.Reference(cont, (22.6,3.15)))
single_guard.add(gdstk.Reference(cont, (24.4,3.15)))
single_guard.add(gdstk.Reference(cont, (26.2,3.15)))
single_guard.add(gdstk.Reference(cont, (8.2,1.35)))
single_guard.add(gdstk.Reference(cont, (10,1.35)))
single_guard.add(gdstk.Reference(cont, (11.8,1.35)))
single_guard.add(gdstk.Reference(cont, (4.6,3.15)))
single_guard.add(gdstk.Reference(cont, (6.4,3.15)))
single_guard.add(gdstk.Reference(cont, (8.2,3.15)))

metal_ring = lib.new_cell('METAL_RING')
R(metal_ring, MET3, [(0,0,120,78), (0,113,120,191), (0,211,120,227.6), (0,234,120,250.6)])

pad_metal_pob4 = lib.new_cell('PAD_METAL_POB4')
R(pad_metal_pob4, MET1, [(6,70,14.2,72), (19.65,70,117,73), (10.35,183,21.45,185), (22.95,183,117,186)])
A(pad_metal_pob4, MET2, 13.2, 7, 5.4, 175, 8, 1, 12.6, 0)
R(pad_metal_pob4, MET2, [(0,0,4,78), (13.2,0,106.8,7), (115,0,120,78), (5,70,9.75,72), (5,72,6,208), (0.6,78,4,108), (115,83,119.4,113), (0,113,4,191), (115,113,120,191), (15.1,183,18.7,208), (5,208,27,210), (23.6,210,27,215.6), (5.6,230.3,14.9,232.2), (5.6,232.2,7.6,253)])
r = gdstk.Reference(via1, (2.25,99.9)); r.repetition = gdstk.Repetition(1, 5, v1=(0,0), v2=(0,1.6)); pad_metal_pob4.add(r)
r = gdstk.Reference(via1, (116.25,84.55)); r.repetition = gdstk.Repetition(2, 5, v1=(1.8,0), v2=(0,1.8)); pad_metal_pob4.add(r)
r = gdstk.Reference(via1, (7,71)); r.repetition = gdstk.Repetition(2, 1, v1=(1.6,0), v2=(0,0)); pad_metal_pob4.add(r)
pad_metal_pob4.add(gdstk.Reference(via1, (16.1,184)))
pad_metal_pob4.add(gdstk.Reference(via1, (17.7,184)))

pob4 = lib.new_cell('POB4')
R(pob4, MET2, [(5,251.6,8.2,253)])
pob4.add(gdstk.Reference(pad_80, (60,-49)))
pob4.add(gdstk.Reference(ndrv, (0,0)))
pob4.add(gdstk.Reference(guard1, (59.65,211)))
pob4.add(gdstk.Reference(double_guard, (0,83)))
pob4.add(gdstk.Reference(guard, (0,211)))
pob4.add(gdstk.Reference(inv2, (5.7,215.7)))
pob4.add(gdstk.Reference(pdrv, (0,113)))
pob4.add(gdstk.Reference(single_guard, (0,196)))
pob4.add(gdstk.Reference(metal_ring, (0,0)))
pob4.add(gdstk.Reference(pad_metal_pob4, (0,0)))
pob4.add(gdstk.Label('VDD', (0,150.9), layer=36, texttype=0))
pob4.add(gdstk.Label('VDD', (0,216.95), layer=36, texttype=0))
pob4.add(gdstk.Label('VSS', (0,239.4), layer=36, texttype=0))
pob4.add(gdstk.Label('VSS', (0,37.6), layer=36, texttype=0))
pob4.add(gdstk.Label('A', (6.75,253), layer=34, texttype=0))

lib.write_gds('POB4.gds')
